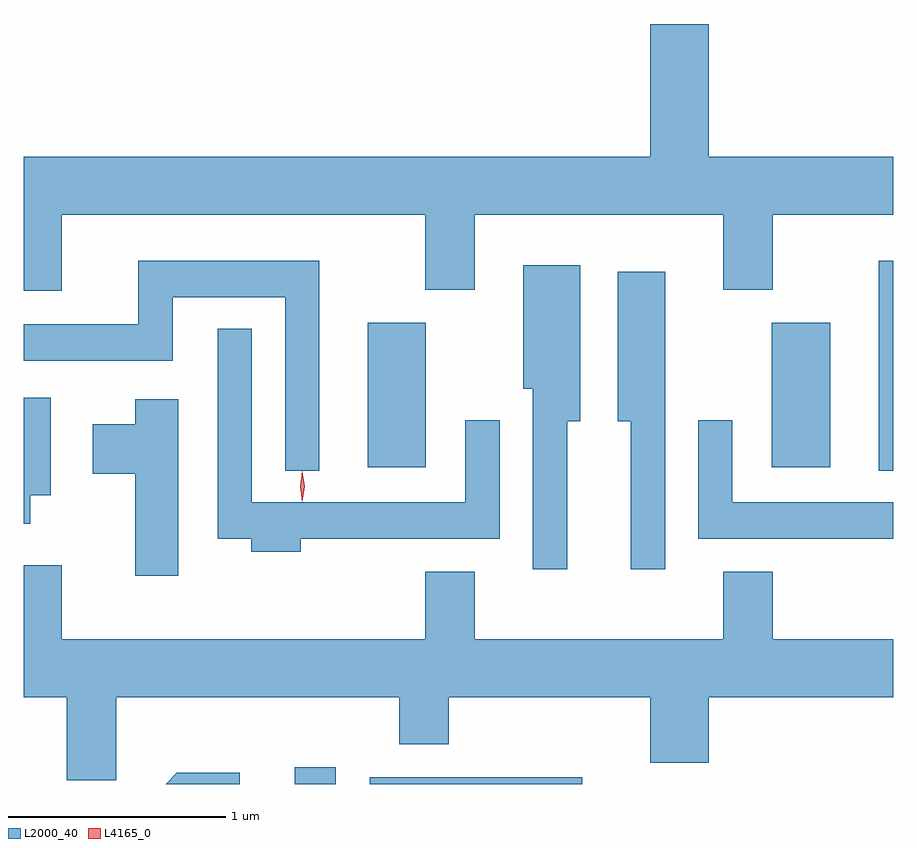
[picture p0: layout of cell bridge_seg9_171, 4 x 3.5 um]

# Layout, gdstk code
import gdstk
lib = gdstk.Library(unit=1e-6, precision=1e-09)
def R(c, l, rs):  # rectangles x0, y0, x1, y1
    for r in rs: c.add(gdstk.rectangle(r[:2], r[2:], *l))
def P(c, l, *ps):  # polygons
    for p in ps: c.add(gdstk.Polygon(p, *l))
L2000_40 = (2000, 40)
L4165_0 = (4165, 0)

bridge_seg9_171 = lib.new_cell('bridge_seg9_171')
R(bridge_seg9_171, L2000_40, [(1392.261,2071.338,1392.449,2071.414), (1392.606,2071.338,1393.584,2071.369), (1394.946,2072.778,1395.014,2073.744), (1392.596,2072.796,1392.864,2073.459), (1394.456,2072.796,1394.724,2073.459)])
P(bridge_seg9_171, L2000_40, [(1391.189,2073.956),(1392.861,2073.956),(1392.861,2073.611),(1393.089,2073.611),(1393.089,2073.956),(1394.231,2073.956),(1394.231,2073.611),(1394.459,2073.611),(1394.459,2073.956),(1395.014,2073.956),(1395.014,2074.224),(1394.164,2074.224),(1394.164,2074.834),(1393.896,2074.834),(1393.896,2074.224),(1391.014,2074.224),(1391.014,2073.606),(1391.189,2073.606)],
  [(1392.374,2073.744),(1391.541,2073.744),(1391.541,2073.454),(1391.014,2073.454),(1391.014,2073.286),(1391.699,2073.286),(1391.699,2073.576),(1392.216,2073.576),(1392.216,2072.778),(1392.374,2072.778)],
  [(1393.514,2073.006),(1393.574,2073.006),(1393.574,2073.724),(1393.311,2073.724),(1393.311,2073.156),(1393.356,2073.156),(1393.356,2072.327),(1393.514,2072.327)],
  [(1393.964,2073.694),(1393.746,2073.694),(1393.746,2073.006),(1393.806,2073.006),(1393.806,2072.327),(1393.964,2072.327)],
  [(1392.289,2072.466),(1393.204,2072.466),(1393.204,2073.012),(1393.046,2073.012),(1393.046,2072.634),(1392.064,2072.634),(1392.064,2073.433),(1391.906,2073.433),(1391.906,2072.466),(1392.061,2072.466),(1392.061,2072.406),(1392.289,2072.406)],
  [(1391.044,2072.666),(1391.139,2072.666),(1391.139,2073.114),(1391.014,2073.114),(1391.014,2072.536),(1391.044,2072.536)],
  [(1391.724,2073.109),(1391.526,2073.109),(1391.526,2072.994),(1391.331,2072.994),(1391.331,2072.766),(1391.526,2072.766),(1391.526,2072.296),(1391.724,2072.296)],
  [(1395.014,2072.634),(1394.274,2072.634),(1394.274,2073.012),(1394.116,2073.012),(1394.116,2072.466),(1395.014,2072.466)],
  [(1393.089,2072.314),(1392.861,2072.314),(1392.861,2072.004),(1391.189,2072.004),(1391.189,2072.344),(1391.014,2072.344),(1391.014,2071.736),(1391.211,2071.736),(1391.211,2071.356),(1391.439,2071.356),(1391.439,2071.736),(1392.741,2071.736),(1392.741,2071.521),(1392.969,2071.521),(1392.969,2071.736),(1393.896,2071.736),(1393.896,2071.436),(1394.164,2071.436),(1394.164,2071.736),(1395.014,2071.736),(1395.014,2072.004),(1394.459,2072.004),(1394.459,2072.314),(1394.231,2072.314),(1394.231,2072.004),(1393.089,2072.004)],
  [(1392.008,2071.389),(1391.719,2071.389),(1391.668,2071.338),(1392.008,2071.338)])
P(bridge_seg9_171, L4165_0, [(1392.295,2072.637),(1392.286,2072.707),(1392.295,2072.776),(1392.296,2072.776),(1392.296,2072.776),(1392.306,2072.707),(1392.296,2072.637),(1392.296,2072.637)],
  [(1392.295,2072.64),(1392.286,2072.706),(1392.295,2072.772),(1392.296,2072.773),(1392.296,2072.772),(1392.306,2072.706),(1392.296,2072.64),(1392.296,2072.64)])

lib.write_gds('bridge_seg9_171.gds')
